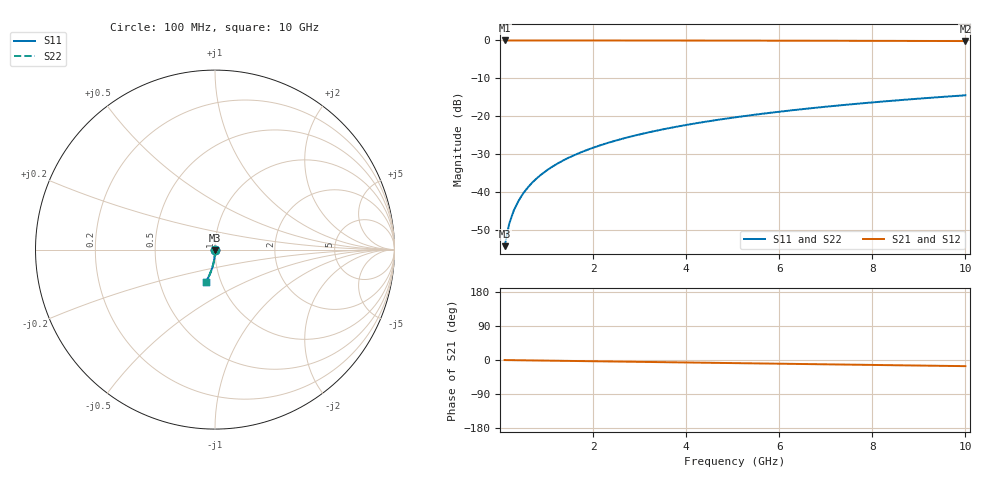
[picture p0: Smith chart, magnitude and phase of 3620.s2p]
# Hz S RI R 50.00
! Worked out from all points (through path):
!   100 points, 100 MHz to 10 GHz, reference 50 ohm
!   highest |S21| = 0.00 dB at 100 MHz (marker M1); lowest = -0.2 dB at 10 GHz (marker M2)
!   group delay of S21, straight-line fit = 4.52 ps
!   lowest |S11| = -54.3 dB at 100 MHz (marker M3), VSWR 1.00, Z = 50 - j0.192 ohm
!   |S11| at or under -10 dB: start of sweep to end of sweep
!   |S22| runs from -54.3 to -14.5 dB; largest |S21 - S12| = 0
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1e8  0.000191 -0.00192  0.9998 -0.00284  0.9998 -0.00284  0.000191 -0.00192
2e8  0.000174 -0.00383  0.9998 -0.00568  0.9998 -0.00568  0.000174 -0.00383
3e8  0.000145 -0.00575  0.9997 -0.00852  0.9997 -0.00852  0.000145 -0.00575
4e8  0.000106 -0.00766  0.9997 -0.0114  0.9997 -0.0114  0.000106 -0.00766
5e8  5.5e-05 -0.00958  0.9996 -0.0142  0.9996 -0.0142  5.5e-05 -0.00958
6e8  -6.52e-06 -0.0115  0.9996 -0.017  0.9996 -0.017  -6.52e-06 -0.0115
7e8  -7.9e-05 -0.0134  0.9995 -0.0199  0.9995 -0.0199  -7.9e-05 -0.0134
8e8  -0.000162 -0.0153  0.9994 -0.0227  0.9994 -0.0227  -0.000162 -0.0153
9e8  -0.000257 -0.0172  0.9993 -0.0255  0.9993 -0.0255  -0.000257 -0.0172
1.1e9  -0.000478 -0.0211  0.9991 -0.0312  0.9991 -0.0312  -0.000478 -0.0211
1.4e9  -0.000892 -0.0268  0.9986 -0.0397  0.9986 -0.0397  -0.000892 -0.0268
1.8e9  -0.0016 -0.0345  0.9978 -0.0511  0.9978 -0.0511  -0.0016 -0.0345
2.1e9  -0.00224 -0.0402  0.9972 -0.0596  0.9972 -0.0596  -0.00224 -0.0402
2.5e9  -0.00325 -0.0478  0.9961 -0.0709  0.9961 -0.0709  -0.00325 -0.0478
2.9e9  -0.00443 -0.0554  0.9948 -0.0822  0.9948 -0.0822  -0.00443 -0.0554
3.4e9  -0.00615 -0.0648  0.9929 -0.0963  0.9929 -0.0963  -0.00615 -0.0648
4.2e9  -0.00946 -0.0798  0.9894 -0.1187  0.9894 -0.1187  -0.00946 -0.0798
5.1e9  -0.014 -0.0965  0.9845 -0.1437  0.9845 -0.1437  -0.014 -0.0965
5.9e9  -0.0187 -0.1111  0.9793 -0.1658  0.9793 -0.1658  -0.0187 -0.1111
6.7e9  -0.0241 -0.1255  0.9735 -0.1876  0.9735 -0.1876  -0.0241 -0.1255
8.4e9  -0.0376 -0.155  0.9588 -0.2331  0.9588 -0.2331  -0.0376 -0.155
1e10  -0.0528 -0.1813  0.9424 -0.2745  0.9424 -0.2745  -0.0528 -0.1813
